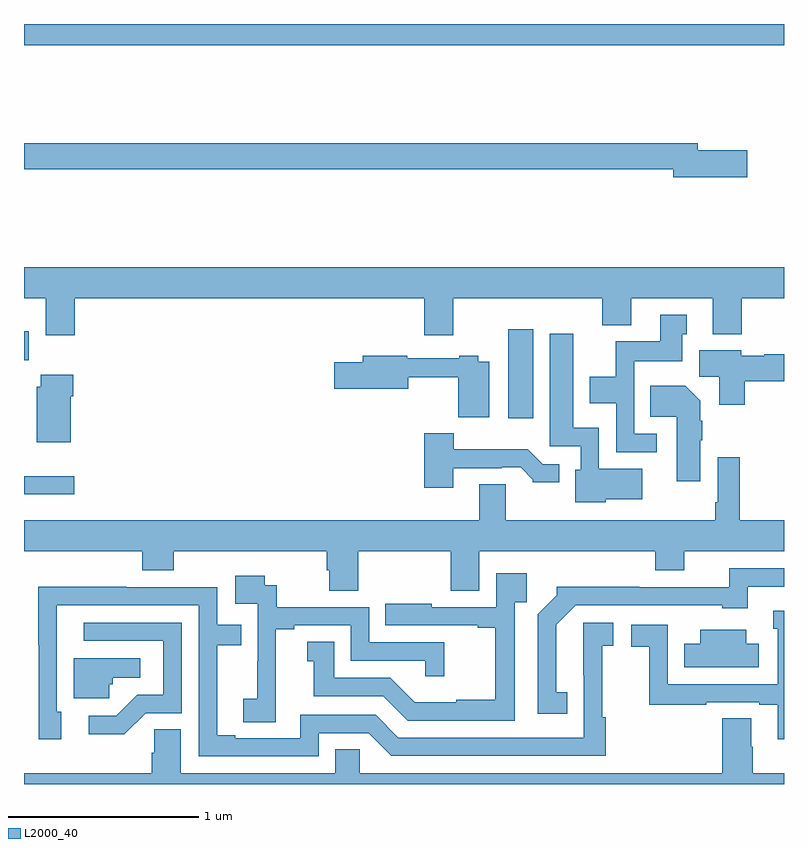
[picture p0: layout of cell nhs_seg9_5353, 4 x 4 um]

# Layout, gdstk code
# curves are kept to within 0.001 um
import gdstk
lib = gdstk.Library(unit=1e-6, precision=1e-09)
def R(c, l, rs):  # rectangles x0, y0, x1, y1
    for r in rs: c.add(gdstk.rectangle(r[:2], r[2:], *l))
def P(c, l, *ps):  # polygons
    for p in ps: c.add(gdstk.Polygon(p, *l))
L2000_40 = (2000, 40)

nhs_seg9_5353 = lib.new_cell('nhs_seg9_5353')
R(nhs_seg9_5353, L2000_40, [(421,1226.024,421.264,1226.121), (423.548,1226.424,423.679,1226.893), (421,1226.73,421.024,1226.884), (421,1228.388,425,1228.5)])
P(nhs_seg9_5353, L2000_40, [(424.807,1227.836),(424.546,1227.836),(424.546,1227.872),(421,1227.872),(421,1227.736),(424.418,1227.736),(424.418,1227.694),(424.807,1227.694)],
  [(421.268,1227.056),(423.107,1227.056),(423.107,1226.862),(423.259,1226.862),(423.259,1227.056),(424.043,1227.056),(424.043,1226.915),(424.195,1226.915),(424.195,1227.056),(424.625,1227.056),(424.625,1226.867),(424.778,1226.867),(424.778,1227.056),(425,1227.056),(425,1227.22),(421,1227.22),(421,1227.056),(421.115,1227.056),(421.115,1226.862),(421.268,1226.862)],
  [(424.33,1226.343),(424.212,1226.343),(424.212,1226.726),(424.465,1226.726),(424.465,1226.868),(424.489,1226.868),(424.489,1226.971),(424.349,1226.971),(424.349,1226.83),(424.114,1226.83),(424.114,1226.644),(423.977,1226.644),(423.977,1226.504),(424.116,1226.504),(424.116,1226.247),(424.33,1226.247)],
  [(424.062,1226),(424.255,1226),(424.255,1226.158),(424.026,1226.158),(424.026,1226.374),(423.892,1226.374),(423.892,1226.869),(423.767,1226.869),(423.767,1226.277),(423.93,1226.277),(423.93,1226.154),(423.902,1226.154),(423.902,1225.982),(424.062,1225.982)],
  [(424.793,1226.621),(425,1226.621),(425,1226.763),(424.896,1226.763),(424.896,1226.755),(424.776,1226.755),(424.776,1226.782),(424.553,1226.782),(424.553,1226.644),(424.658,1226.644),(424.658,1226.496),(424.793,1226.496)],
  [(423.448,1226.722),(423.39,1226.722),(423.39,1226.755),(423.29,1226.755),(423.29,1226.742),(423.018,1226.742),(423.018,1226.755),(422.783,1226.755),(422.783,1226.721),(422.634,1226.721),(422.634,1226.579),(423.022,1226.579),(423.022,1226.641),(423.286,1226.641),(423.286,1226.429),(423.448,1226.429)],
  [(421.246,1226.54),(421.259,1226.54),(421.259,1226.653),(421.088,1226.653),(421.088,1226.592),(421.067,1226.592),(421.067,1226.3),(421.246,1226.3)],
  [(424.558,1226.308),(424.571,1226.308),(424.571,1226.411),(424.558,1226.411),(424.558,1226.518),(424.48,1226.596),(424.297,1226.596),(424.297,1226.432),(424.436,1226.432),(424.436,1226.094),(424.558,1226.094)],
  [(423.259,1226.163),(423.515,1226.163),(423.515,1226.166),(423.614,1226.166),(423.678,1226.102),(423.678,1226.087),(423.817,1226.087),(423.817,1226.184),(423.729,1226.184),(423.651,1226.263),(423.262,1226.263),(423.262,1226.347),(423.107,1226.347),(423.107,1226.058),(423.259,1226.058)],
  [(422.759,1225.724),(423.245,1225.724),(423.245,1225.516),(423.397,1225.516),(423.397,1225.724),(424.322,1225.724),(424.322,1225.625),(424.474,1225.625),(424.474,1225.724),(425,1225.724),(425,1225.888),(424.766,1225.888),(424.766,1226.221),(424.65,1226.221),(424.65,1225.984),(424.638,1225.984),(424.638,1225.888),(423.535,1225.888),(423.535,1226.078),(423.395,1226.078),(423.395,1225.888),(421,1225.888),(421,1225.724),(421.622,1225.724),(421.622,1225.625),(421.787,1225.625),(421.787,1225.724),(422.594,1225.724),(422.594,1225.626),(422.606,1225.626),(422.606,1225.516),(422.759,1225.516)],
  [(423.86,1224.983),(423.802,1224.983),(423.802,1225.339),(423.903,1225.44),(424.674,1225.44),(424.674,1225.424),(424.81,1225.424),(424.81,1225.539),(425,1225.539),(425,1225.635),(424.711,1225.635),(424.711,1225.536),(424.238,1225.536),(424.238,1225.538),(423.804,1225.538),(423.804,1225.493),(423.705,1225.394),(423.705,1224.87),(423.86,1224.87)],
  [(423.582,1225.457),(423.647,1225.457),(423.647,1225.609),(423.486,1225.609),(423.486,1225.431),(423.145,1225.431),(423.145,1225.45),(422.902,1225.45),(422.902,1225.335),(423.389,1225.335),(423.389,1225.323),(423.481,1225.323),(423.481,1224.943),(423.275,1224.943),(423.275,1224.931),(423.056,1224.931),(422.928,1225.059),(422.632,1225.059),(422.632,1225.25),(422.492,1225.25),(422.492,1225.147),(422.525,1225.147),(422.525,1224.963),(422.892,1224.963),(423.021,1224.834),(423.582,1224.834)],
  [(422.324,1224.937),(422.326,1224.937),(422.326,1225.315),(422.422,1225.315),(422.422,1225.335),(422.721,1225.335),(422.721,1225.149),(423.111,1225.149),(423.111,1225.068),(423.212,1225.068),(423.212,1225.245),(422.817,1225.245),(422.817,1225.431),(422.33,1225.431),(422.33,1225.545),(422.268,1225.545),(422.268,1225.597),(422.112,1225.597),(422.112,1225.449),(422.229,1225.449),(422.229,1225.145),(422.228,1225.145),(422.228,1224.948),(422.154,1224.948),(422.154,1224.826),(422.324,1224.826)],
  [(422.55,1224.768),(422.814,1224.768),(422.934,1224.648),(424.061,1224.648),(424.061,1224.851),(424.044,1224.851),(424.044,1225.227),(424.102,1225.227),(424.102,1225.348),(423.944,1225.348),(423.945,1224.744),(422.97,1224.744),(422.85,1224.864),(422.454,1224.864),(422.454,1224.741),(422.113,1224.741),(422.113,1224.756),(422.017,1224.756),(422.017,1225.23),(422.144,1225.23),(422.144,1225.338),(422.016,1225.338),(422.016,1225.536),(421.538,1225.536),(421.538,1225.538),(421.076,1225.538),(421.077,1224.735),(421.195,1224.735),(421.195,1224.879),(421.173,1224.879),(421.173,1225.44),(421.92,1225.44),(421.92,1224.645),(422.55,1224.645)],
  [(425,1225.411),(424.943,1225.411),(424.943,1225.317),(424.968,1225.317),(424.968,1225.026),(424.389,1225.026),(424.389,1225.338),(424.197,1225.338),(424.197,1225.222),(424.291,1225.222),(424.291,1224.918),(424.592,1224.918),(424.592,1224.93),(424.871,1224.93),(424.871,1224.918),(424.967,1224.918),(424.967,1224.735),(425,1224.735)],
  [(421.641,1224.873),(421.83,1224.873),(421.83,1225.35),(421.314,1225.35),(421.314,1225.254),(421.734,1225.254),(421.734,1224.969),(421.596,1224.969),(421.485,1224.858),(421.341,1224.858),(421.341,1224.761),(421.528,1224.761)],
  [(424.867,1225.237),(424.801,1225.237),(424.801,1225.312),(424.559,1225.312),(424.559,1225.237),(424.474,1225.237),(424.474,1225.115),(424.867,1225.115)],
  [(421.449,1225.026),(421.468,1225.026),(421.468,1225.058),(421.612,1225.058),(421.612,1225.162),(421.262,1225.162),(421.262,1224.951),(421.449,1224.951)],
  [(425,1224.556),(424.836,1224.556),(424.836,1224.695),(424.828,1224.695),(424.828,1224.845),(424.676,1224.845),(424.676,1224.556),(422.766,1224.556),(422.766,1224.683),(422.639,1224.683),(422.639,1224.556),(421.825,1224.556),(421.825,1224.788),(421.686,1224.788),(421.686,1224.665),(421.673,1224.665),(421.673,1224.556),(421,1224.556),(421,1224.5),(425,1224.5)])

lib.write_gds('nhs_seg9_5353.gds')
